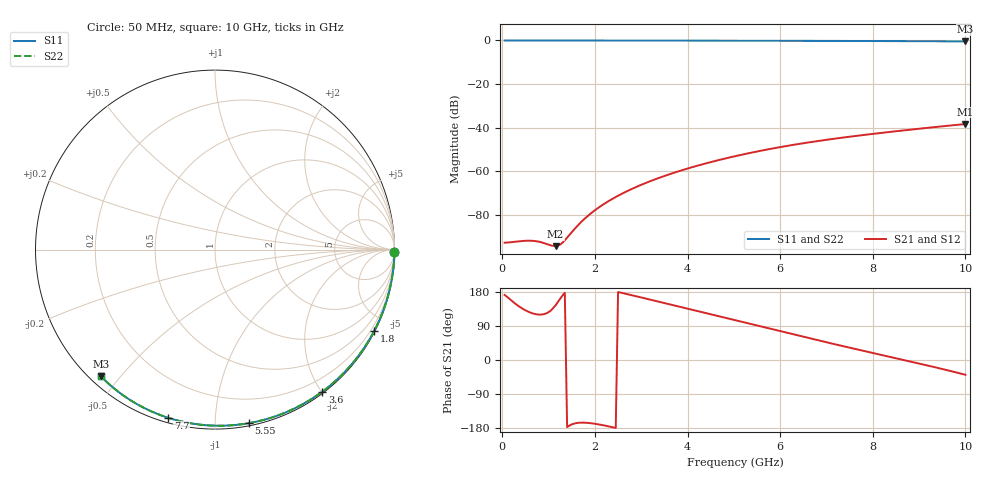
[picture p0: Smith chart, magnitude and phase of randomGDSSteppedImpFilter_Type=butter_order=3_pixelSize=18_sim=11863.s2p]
! freq	dB(S11)	phase(S11)	dB(S12)	phase(S12)
!  dB(S21)	phase(S21)	dB(S22)	phase(S22)
!S-par simulation data
#  GHz  S  DB  R 50
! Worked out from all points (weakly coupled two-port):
!   200 points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, 50 MHz to 10 GHz, reference 50 ohm
!   highest |S21| = -38.38 dB at 10 GHz (marker M1); lowest = -94.4 dB at 1.15 GHz (marker M2)
!   lowest |S11| = -0.4 dB at 10 GHz (marker M3), VSWR 39.01, Z = 1.54 - j22.2 ohm
!   |S11| at or under -10 dB: nowhere
!   |S22| runs from -0.4 to 0.0 dB; largest |S21 - S12| = 0
!   S11 on the Smith chart (normalised r, x): 50 MHz: open; 1.8 GHz: 0.04, -4.16; 3.6 GHz: 0.02, -2.01; 5.55 GHz: 0.02, -1.21; 7.7 GHz: 0.02, -0.76; 10 GHz: 0.03, -0.44
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0.05  -0.00 -0.8  -92.82 171.6  -92.82 171.6  -0.00 -0.8
0.6  -0.01 -9.1  -91.90 125.5  -91.90 125.5  -0.01 -9.1
1.15  -0.02 -17.4  -94.41 144.2  -94.41 144.2  -0.02 -17.4
1.75  -0.03 -26.3  -82.37 -165.3  -82.37 -165.3  -0.03 -26.3
1.8  -0.03 -27.1  -81.39 -165.5  -81.39 -165.5  -0.03 -27.0
1.85  -0.04 -27.8  -80.47 -166.0  -80.47 -166.0  -0.04 -27.8
1.9  -0.04 -28.5  -79.58 -166.6  -79.58 -166.6  -0.04 -28.5
2.05  -0.04 -30.7  -77.15 -169.3  -77.15 -169.3  -0.04 -30.7
2.25  -0.04 -33.6  -74.31 -173.9  -74.31 -173.9  -0.04 -33.6
2.65  -0.05 -39.4  -69.62 175.2  -69.62 175.2  -0.05 -39.4
3  -0.06 -44.5  -66.24 165.0  -66.24 165.0  -0.06 -44.4
3.4  -0.07 -50.1  -62.95 153.2  -62.95 153.2  -0.07 -50.1
3.6  -0.07 -52.9  -61.47 147.3  -61.47 147.3  -0.07 -52.9
4.3  -0.09 -62.5  -56.97 126.6  -56.97 126.6  -0.09 -62.5
5.05  -0.11 -72.5  -53.00 104.3  -53.00 104.3  -0.11 -72.5
5.55  -0.13 -79.0  -50.75 89.4  -50.75 89.4  -0.13 -79.0
6.1  -0.15 -86.0  -48.57 73.0  -48.57 73.0  -0.15 -86.0
6.7  -0.18 -93.5  -46.51 55.4  -46.51 55.4  -0.18 -93.4
7.7  -0.24 -105.5  -43.64 26.9  -43.64 26.9  -0.24 -105.5
8.35  -0.29 -113.1  -42.02 8.9  -42.02 8.9  -0.29 -113.1
9.15  -0.36 -122.3  -40.17 -13.5  -40.17 -13.5  -0.36 -122.3
10  -0.45 -132.1  -38.38 -39.0  -38.38 -39.0  -0.45 -132.0
